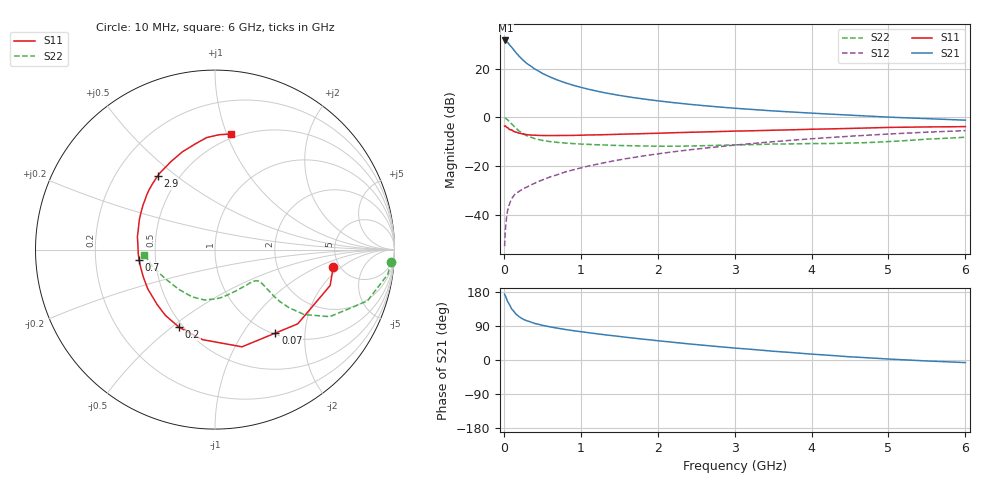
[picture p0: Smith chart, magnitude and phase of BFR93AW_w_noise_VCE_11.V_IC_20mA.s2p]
! (c) 2017  Infineon Technologies AG, Munich
! Infineon Technologies  Discrete & RF Semiconductors
! BFR93AW
! VCE =  11. V,  IC =  20 mA
! Common Emitter S-Parameters:  Jan 2017
# GHz  S  MA  R  50
!  f  S11  S21  S12  S22
! GHz  MAG  ANG  MAG  ANG  MAG  ANG  MAG  ANG
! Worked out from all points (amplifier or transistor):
!   77 points, 10 MHz to 6 GHz, reference 50 ohm
!   highest |S21| = 31.6 dB at 20 MHz (marker M1)
!   |S21| within 3 dB of that: start of sweep to 107 MHz
!   unconditionally stable (mu >= 1): 692.5 MHz to 2.07 GHz
!   at 130 MHz: K = 0.42, MSG = 29.9 dB, |S12| = -32.0 dB
!   at 2.2 GHz: K = 0.99, MSG = 10.1 dB, |S12| = -14.1 dB
!   at 6 GHz: K = 0.85, MSG = 2.1 dB, |S12| = -5.4 dB
!   lowest NFmin = 1.52 dB at 450 MHz
!   S11 on the Smith chart (normalised r, x): 10 MHz: 4.39, -1.57; 70 MHz: 1.02, -1.42; 200 MHz: 0.48, -0.53; 700 MHz: 0.40, -0.05; 2.9 GHz: 0.38, +0.43; 6 GHz: 0.46, +1.03
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0.01  0.6657 -8.6  37.91 173.8  0.0023 79.5  0.9811 -3.9
0.02  0.6722 -17.3  37.96 168.8  0.005 79.1  0.9731 -8.1
0.05  0.6194 -41.9  34.43 153.9  0.0126 71.3  0.8962 -18.6
0.07  0.574 -54.1  31.36 147.3  0.0161 67.2  0.83 -22.8
0.1  0.5622 -74.5  27.73 135.0  0.0215 63.6  0.7406 -30.3
0.15  0.5063 -97.9  22.05 122.6  0.0273 58.2  0.6134 -36.1
0.2  0.4766 -114.8  17.92 114.1  0.0307 56.7  0.5252 -38.1
0.25  0.4591 -127.0  14.99 107.8  0.0346 57.2  0.4651 -38.7
0.3  0.4444 -136.5  12.78 103.4  0.0375 58.3  0.4212 -38.4
0.4  0.4338 -149.8  9.911 96.5  0.0449 60.4  0.3699 -37.2
0.5  0.4275 -159.3  8.03 91.6  0.0525 63.1  0.3392 -36.3
0.6  0.4259 -166.4  6.774 87.4  0.0603 64.2  0.3203 -35.7
0.7  0.4273 -172.5  5.842 83.9  0.0676 65.9  0.3081 -35.5
0.9  0.4295 177.8  4.586 77.5  0.0841 67.2  0.292 -36.6
1.1  0.4386 170.3  3.799 72.1  0.1011 68.0  0.281 -38.7
1.5  0.4532 158.4  2.841 62.2  0.1352 67.8  0.2665 -45.8
2.1  0.4805 143.8  2.108 48.9  0.1885 64.9  0.2574 -61.7
2.9  0.52 127.7  1.594 33.4  0.2617 59.1  0.2715 -85.5
3.1  0.5291 123.9  1.51 30.0  0.2805 57.4  0.2753 -91.0
4.1  0.5779 107.0  1.205 14.2  0.3754 47.9  0.292 -119.3
5.1  0.6285 92.9  1.003 1.5  0.4662 37.1  0.3269 -152.9
6  0.6504 82.2  0.881 -6.9  0.5383 26.7  0.394 -175.9
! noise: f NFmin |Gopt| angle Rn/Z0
0.45  1.52  0.14  161  0.15
0.9  1.8  0.23  175  0.15
1.9  2.8  0.48  -138  0.23
2.4  3.43  0.54  -126  0.45
